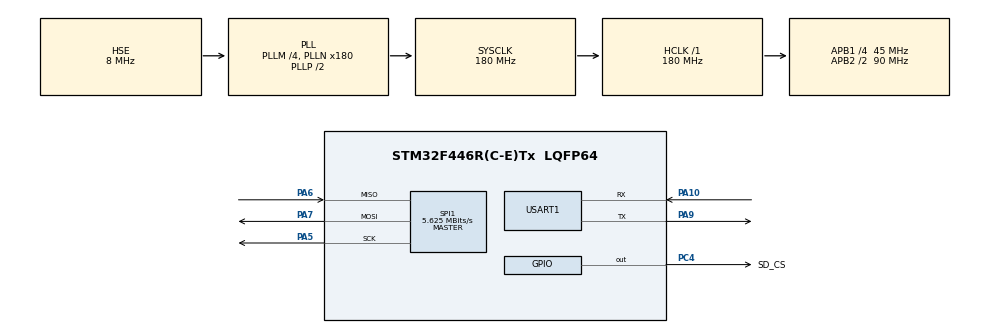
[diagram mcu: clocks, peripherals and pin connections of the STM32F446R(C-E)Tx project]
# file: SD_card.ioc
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FATFS._MAX_SS=4096
FATFS._USE_LFN=1
Mcu.Family=STM32F4
Mcu.Name=STM32F446R(C-E)Tx
Mcu.Package=LQFP64
NVIC.PriorityGroup=NVIC_PRIORITYGROUP_4
PA10.Mode=Asynchronous
PA10.Signal=USART1_RX
PA13.Mode=Serial_Wire
PA13.Signal=SYS_JTMS-SWDIO
PA14.Mode=Serial_Wire
PA14.Signal=SYS_JTCK-SWCLK
PA5.Mode=Full_Duplex_Master
PA5.Signal=SPI1_SCK
PA6.Mode=Full_Duplex_Master
PA6.Signal=SPI1_MISO
PA7.Mode=Full_Duplex_Master
PA7.Signal=SPI1_MOSI
PA9.Mode=Asynchronous
PA9.Signal=USART1_TX
PC4.GPIO_Label=SD_CS
PC4.Signal=GPIO_Output
PH0-OSC_IN.Mode=HSE-External-Oscillator
PH0-OSC_IN.Signal=RCC_OSC_IN
PH1-OSC_OUT.Mode=HSE-External-Oscillator
PH1-OSC_OUT.Signal=RCC_OSC_OUT
ProjectManager.HeapSize=0x200
ProjectManager.StackSize=0x400
ProjectManager.TargetToolchain=STM32CubeIDE
RCC.AHBFreq_Value=180000000
RCC.APB1CLKDivider=RCC_HCLK_DIV4
RCC.APB1Freq_Value=45000000
RCC.APB1TimFreq_Value=90000000
RCC.APB2CLKDivider=RCC_HCLK_DIV2
RCC.APB2Freq_Value=90000000
RCC.APB2TimFreq_Value=180000000
RCC.CortexFreq_Value=180000000
RCC.HCLKFreq_Value=180000000
RCC.HSE_VALUE=8000000
RCC.PLLM=4
RCC.PLLN=180
RCC.PLLSourceVirtual=RCC_PLLSOURCE_HSE
RCC.SYSCLKFreq_VALUE=180000000
RCC.SYSCLKSource=RCC_SYSCLKSOURCE_PLLCLK
RCC.USBFreq_Value=180000000
RCC.VCOOutputFreq_Value=360000000
SPI1.BaudRatePrescaler=SPI_BAUDRATEPRESCALER_16
SPI1.CalculateBaudRate=5.625 MBits/s
SPI1.Direction=SPI_DIRECTION_2LINES
SPI1.Mode=SPI_MODE_MASTER
SPI1.VirtualType=VM_MASTER
USART1.VirtualMode=VM_ASYNC
VP_FATFS_VS_Generic.Mode=User_defined
board=custom

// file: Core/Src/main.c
/* USER CODE BEGIN Header */
/**
  ******************************************************************************
  * @file           : main.c
  * @brief          : Main program body
  ******************************************************************************
  * @attention
  *
  * Copyright (c) 2024 STMicroelectronics.
  * All rights reserved.
  *
  * This software is licensed under terms that can be found in the LICENSE file
  * in the root directory of this software component.
  * If no LICENSE file comes with this software, it is provided AS-IS.
  *
  ******************************************************************************
  */
/* USER CODE END Header */
#include "main.h"
#include "fatfs.h"

/* USER CODE BEGIN Includes */
#include "fatfs_sd.h"
#include <string.h>
#include <stdarg.h>
#include <stdio.h>
#include "SDcard.h"
/* USER CODE END Includes */

/* USER CODE BEGIN PM */
char *file = "cekirdek.txt";
char *file2 = "arge.txt";
char *data;
char *datas; // buraya log mesajları gelebilir
/* USER CODE END PM */

SPI_HandleTypeDef hspi1;

UART_HandleTypeDef huart1;

void SystemClock_Config(void);
static void MX_GPIO_Init(void);
static void MX_SPI1_Init(void);
static void MX_USART1_UART_Init(void);

/* USER CODE BEGIN 0 */
void debugMessage(char *format,...)
{
	char str[300];

	/*Extract the the argument list using VA apis */
	va_list args;
	va_start(args, format);
	vsprintf(str, format,args);
	HAL_UART_Transmit(&huart1,(uint8_t *)str, strlen(str),HAL_MAX_DELAY);
	va_end(args);

}
/* USER CODE END 0 */

int main(void)
{

  /* MCU Configuration--------------------------------------------------------*/

  /* Reset of all peripherals, Initializes the Flash interface and the Systick. */
  HAL_Init();

  /* Configure the system clock */
  SystemClock_Config();

  /* Initialize all configured peripherals */
  MX_GPIO_Init();
  MX_SPI1_Init();
  MX_USART1_UART_Init();
  MX_FATFS_Init();
  /* USER CODE BEGIN 2 */
  SDCardIsCapacity();
	HAL_Delay(100);

  createSDFile(file);
	HAL_Delay(100);

  createAndWriteSDFile(file,data);
	HAL_Delay(100);

  //LoggerSDFile(file2, datas);
  createAndWriteSDFile(file2,datas);
	HAL_Delay(100);

  LoggerSDFile("fileName.txt", datas);
	HAL_Delay(100);

  readSDFileData("fileName.txt");
	HAL_Delay(100);

  readSDFileData(file2);
	HAL_Delay(100);

  SDCardIsCapacity();
	HAL_Delay(100);

  removingSDFile(file);
	HAL_Delay(100);

  removingSDFile(file2);
	HAL_Delay(100);

  SDCardIsCapacity();

	HAL_Delay(100);

  /* USER CODE END 2 */

  /* Infinite loop */
  while (1)
  {

  }
}

void SystemClock_Config(void)
{
  RCC_OscInitTypeDef RCC_OscInitStruct = {0};
  RCC_ClkInitTypeDef RCC_ClkInitStruct = {0};

  /** Configure the main internal regulator output voltage
  */
  __HAL_RCC_PWR_CLK_ENABLE();
  __HAL_PWR_VOLTAGESCALING_CONFIG(PWR_REGULATOR_VOLTAGE_SCALE1);

  /** Initializes the RCC Oscillators according to the specified parameters
  * in the RCC_OscInitTypeDef structure.
  */
  RCC_OscInitStruct.OscillatorType = RCC_OSCILLATORTYPE_HSE;
  RCC_OscInitStruct.HSEState = RCC_HSE_ON;
  RCC_OscInitStruct.PLL.PLLState = RCC_PLL_ON;
  RCC_OscInitStruct.PLL.PLLSource = RCC_PLLSOURCE_HSE;
  RCC_OscInitStruct.PLL.PLLM = 4;
  RCC_OscInitStruct.PLL.PLLN = 180;
  RCC_OscInitStruct.PLL.PLLP = RCC_PLLP_DIV2;
  RCC_OscInitStruct.PLL.PLLQ = 2;
  RCC_OscInitStruct.PLL.PLLR = 2;
  if (HAL_RCC_OscConfig(&RCC_OscInitStruct) != HAL_OK)
  {
    Error_Handler();
  }

  /** Activate the Over-Drive mode
  */
  if (HAL_PWREx_EnableOverDrive() != HAL_OK)
  {
    Error_Handler();
  }

  /** Initializes the CPU, AHB and APB buses clocks
  */
  RCC_ClkInitStruct.ClockType = RCC_CLOCKTYPE_HCLK|RCC_CLOCKTYPE_SYSCLK
                              |RCC_CLOCKTYPE_PCLK1|RCC_CLOCKTYPE_PCLK2;
  RCC_ClkInitStruct.SYSCLKSource = RCC_SYSCLKSOURCE_PLLCLK;
  RCC_ClkInitStruct.AHBCLKDivider = RCC_SYSCLK_DIV1;
  RCC_ClkInitStruct.APB1CLKDivider = RCC_HCLK_DIV4;
  RCC_ClkInitStruct.APB2CLKDivider = RCC_HCLK_DIV2;

  if (HAL_RCC_ClockConfig(&RCC_ClkInitStruct, FLASH_LATENCY_5) != HAL_OK)
  {
    Error_Handler();
  }
}

static void MX_SPI1_Init(void)
{

  /* SPI1 parameter configuration*/
  hspi1.Instance = SPI1;
  hspi1.Init.Mode = SPI_MODE_MASTER;
  hspi1.Init.Direction = SPI_DIRECTION_2LINES;
  hspi1.Init.DataSize = SPI_DATASIZE_8BIT;
  hspi1.Init.CLKPolarity = SPI_POLARITY_LOW;
  hspi1.Init.CLKPhase = SPI_PHASE_1EDGE;
  hspi1.Init.NSS = SPI_NSS_SOFT;
  hspi1.Init.BaudRatePrescaler = SPI_BAUDRATEPRESCALER_16;
  hspi1.Init.FirstBit = SPI_FIRSTBIT_MSB;
  hspi1.Init.TIMode = SPI_TIMODE_DISABLE;
  hspi1.Init.CRCCalculation = SPI_CRCCALCULATION_DISABLE;
  hspi1.Init.CRCPolynomial = 10;
  if (HAL_SPI_Init(&hspi1) != HAL_OK)
  {
    Error_Handler();
  }

}

static void MX_USART1_UART_Init(void)
{

  huart1.Instance = USART1;
  huart1.Init.BaudRate = 115200;
  huart1.Init.WordLength = UART_WORDLENGTH_8B;
  huart1.Init.StopBits = UART_STOPBITS_1;
  huart1.Init.Parity = UART_PARITY_NONE;
  huart1.Init.Mode = UART_MODE_TX_RX;
  huart1.Init.HwFlowCtl = UART_HWCONTROL_NONE;
  huart1.Init.OverSampling = UART_OVERSAMPLING_16;
  if (HAL_UART_Init(&huart1) != HAL_OK)
  {
    Error_Handler();
  }

}

static void MX_GPIO_Init(void)
{
  GPIO_InitTypeDef GPIO_InitStruct = {0};

  /* GPIO Ports Clock Enable */
  __HAL_RCC_GPIOH_CLK_ENABLE();
  __HAL_RCC_GPIOA_CLK_ENABLE();
  __HAL_RCC_GPIOC_CLK_ENABLE();

  /*Configure GPIO pin Output Level */
  HAL_GPIO_WritePin(SD_CS_GPIO_Port, SD_CS_Pin, GPIO_PIN_RESET);

  /*Configure GPIO pin : SD_CS_Pin */
  GPIO_InitStruct.Pin = SD_CS_Pin;
  GPIO_InitStruct.Mode = GPIO_MODE_OUTPUT_PP;
  GPIO_InitStruct.Pull = GPIO_NOPULL;
  GPIO_InitStruct.Speed = GPIO_SPEED_FREQ_LOW;
  HAL_GPIO_Init(SD_CS_GPIO_Port, &GPIO_InitStruct);

}

void Error_Handler(void)
{
  __disable_irq();
  while (1)
  {
  }
}
